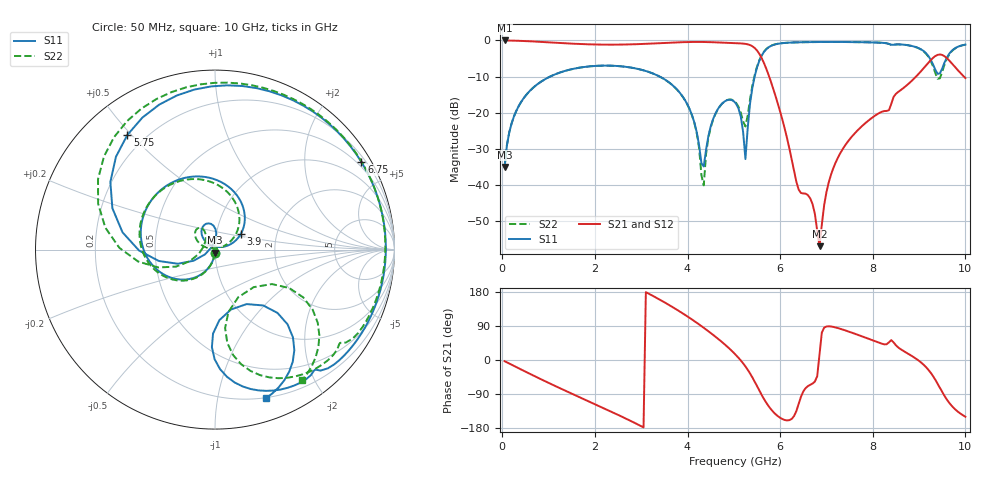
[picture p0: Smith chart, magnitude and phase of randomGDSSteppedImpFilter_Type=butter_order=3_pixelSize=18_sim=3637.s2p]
! freq	dB(S11)	phase(S11)	dB(S12)	phase(S12)
!  dB(S21)	phase(S21)	dB(S22)	phase(S22)
!S-par simulation data
#  GHz  S  DB  R 50
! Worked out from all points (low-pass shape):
!   200 points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, 50 MHz to 10 GHz, reference 50 ohm
!   highest |S21| = -0.01 dB at 50 MHz (marker M1); lowest = -56.8 dB at 6.85 GHz (marker M2)
!   |S21| within 3 dB of the highest: start of sweep to 5.513 GHz
!   lowest |S11| = -34.9 dB at 50 MHz (marker M3), VSWR 1.04, Z = 49.9 - j1.79 ohm
!   |S11| at or under -10 dB: start of sweep to 1.029 GHz; 3.402 GHz to 5.449 GHz (2.047 GHz wide, 46.3 % of centre)
!   |S22| runs from -40.0 to -0.4 dB; largest |S21 - S12| = 0
!   S11 on the Smith chart (normalised r, x): 50 MHz: 1.00, -0.04; 3.9 GHz: 1.31, +0.23; 5.75 GHz: 0.13, +0.49; 6.75 GHz: 0.35, +3.58; 10 GHz: 0.20, -1.39
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0.05  -34.91 -93.0  -0.01 -3.1  -0.01 -3.1  -34.91 -92.9
0.5  -15.31 -121.8  -0.17 -30.8  -0.17 -30.8  -15.31 -120.6
1.75  -7.36 164.5  -1.02 -102.7  -1.02 -102.7  -7.36 169.0
3.4  -9.99 65.3  -0.76 159.3  -0.76 159.3  -9.99 74.7
3.9  -15.60 30.8  -0.48 122.7  -0.48 122.7  -15.63 40.5
4.15  -22.77 17.5  -0.41 102.4  -0.41 102.4  -22.93 23.9
4.35  -34.80 99.7  -0.43 85.0  -0.43 85.0  -40.03 133.5
4.55  -21.80 137.9  -0.50 66.6  -0.50 66.6  -21.94 161.1
5.05  -17.51 93.6  -0.76 12.5  -0.76 12.5  -17.24 121.2
5.25  -32.75 140.0  -0.95 -17.0  -0.95 -17.0  -23.76 162.4
5.45  -9.91 -168.5  -2.08 -57.0  -2.08 -57.0  -9.59 -162.5
5.75  -1.90 127.4  -9.53 -121.7  -9.53 -121.7  -1.86 140.0
6.4  -0.51 54.6  -41.22 -115.9  -41.22 -115.9  -0.51 69.7
6.7  -0.45 34.0  -45.23 -62.2  -45.23 -62.2  -0.45 49.3
6.75  -0.44 30.9  -47.92 -56.9  -47.92 -56.9  -0.44 46.2
6.85  -0.43 24.9  -56.82 15.9  -56.82 15.9  -0.43 40.2
7  -0.42 16.4  -41.87 88.4  -41.87 88.4  -0.42 31.7
7.25  -0.43 3.2  -32.31 84.2  -32.31 84.2  -0.42 18.3
8.35  -0.97 -48.9  -19.26 46.6  -19.26 46.6  -0.97 -35.4
9.25  -5.29 -91.8  -5.46 -33.5  -5.46 -33.5  -5.61 -82.5
9.5  -7.72 -49.2  -4.01 -84.5  -4.01 -84.5  -8.62 -31.2
10  -1.16 -70.9  -10.39 -149.8  -10.39 -149.8  -1.16 -56.2
